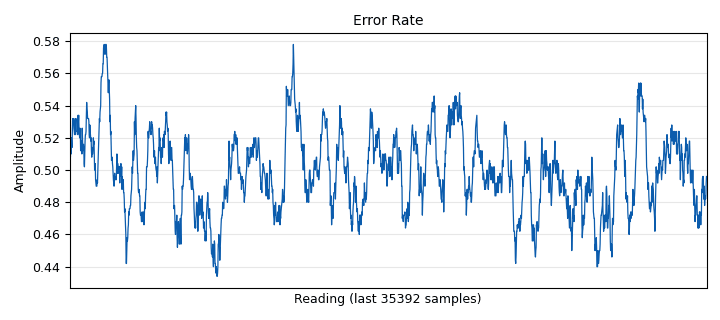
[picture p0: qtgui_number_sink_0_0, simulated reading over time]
<?xml version='1.0' encoding='utf-8'?>
<?grc format='1' created='3.7.13'?>
<flow_graph>
<block>
<key>options</key>
<param><key>id</key><value>BER_Meassurment</value></param>
<param><key>category</key><value>Custom</value></param>
<param><key>generate_options</key><value>qt_gui</value></param>
<param><key>run_options</key><value>run</value></param>
</block>
<block>
<key>variable_qtgui_entry</key>
<param><key>id</key><value>Noise_Level</value></param>
<param><key>value</key><value>12</value></param>
<param><key>label</key><value>Noise Tx OFF in dB</value></param>
<param><key>type</key><value>real</value></param>
</block>
<block>
<key>variable</key>
<param><key>id</key><value>freq</value></param>
<param><key>value</key><value>2400000000</value></param>
</block>
<block>
<key>variable</key>
<param><key>id</key><value>packet_len</value></param>
<param><key>value</key><value>1024</value></param>
</block>
<block>
<key>variable_qtgui_range</key>
<param><key>id</key><value>rxAmp</value></param>
<param><key>value</key><value>6</value></param>
<param><key>label</key><value>Rx Amplifier ON / OFF</value></param>
<param><key>orient</key><value>Qt.Horizontal</value></param>
<param><key>start</key><value>6</value></param>
<param><key>step</key><value>1</value></param>
<param><key>stop</key><value>7</value></param>
<param><key>rangeType</key><value>int</value></param>
<param><key>widget</key><value>dial</value></param>
</block>
<block>
<key>variable_qtgui_range</key>
<param><key>id</key><value>rxgainIF</value></param>
<param><key>value</key><value>20</value></param>
<param><key>label</key><value>Rx Gain</value></param>
<param><key>orient</key><value>Qt.Horizontal</value></param>
<param><key>start</key><value>0</value></param>
<param><key>step</key><value>8</value></param>
<param><key>stop</key><value>40</value></param>
<param><key>rangeType</key><value>int</value></param>
</block>
<block>
<key>variable</key>
<param><key>id</key><value>samp_rate</value></param>
<param><key>value</key><value>9600</value></param>
</block>
<block>
<key>variable_qtgui_range</key>
<param><key>id</key><value>txAmp</value></param>
<param><key>value</key><value>6</value></param>
<param><key>label</key><value>Tx Amplifier ON / OFF</value></param>
<param><key>orient</key><value>Qt.Horizontal</value></param>
<param><key>start</key><value>6</value></param>
<param><key>step</key><value>1</value></param>
<param><key>stop</key><value>7</value></param>
<param><key>rangeType</key><value>int</value></param>
<param><key>widget</key><value>dial</value></param>
</block>
<block>
<key>variable_qtgui_range</key>
<param><key>id</key><value>tx_on_off</value></param>
<param><key>value</key><value>1</value></param>
<param><key>label</key><value>Tx ON / OFF</value></param>
<param><key>orient</key><value>Qt.Horizontal</value></param>
<param><key>start</key><value>0</value></param>
<param><key>step</key><value>1</value></param>
<param><key>stop</key><value>1</value></param>
<param><key>rangeType</key><value>int</value></param>
<param><key>widget</key><value>dial</value></param>
</block>
<block>
<key>variable_qtgui_range</key>
<param><key>id</key><value>txgainIF</value></param>
<param><key>value</key><value>20</value></param>
<param><key>label</key><value>Tx Gain</value></param>
<param><key>orient</key><value>Qt.Horizontal</value></param>
<param><key>start</key><value>0</value></param>
<param><key>step</key><value>1</value></param>
<param><key>stop</key><value>47</value></param>
<param><key>rangeType</key><value>int</value></param>
</block>
<block>
<key>variable_header_format_default</key>
<param><key>id</key><value>variable_header_format_default_0</value></param>
<param><key>access_code</key><value>0</value></param>
<param><key>bps</key><value>1</value></param>
<param><key>threshold</key><value>0</value></param>
</block>
<block>
<key>analog_const_source_x</key>
<param><key>id</key><value>analog_const_source_x_1</value></param>
<param><key>const</key><value>0</value></param>
<param><key>_enabled</key><value>0</value></param>
<param><key>type</key><value>float</value></param>
</block>
<block>
<key>analog_probe_avg_mag_sqrd_x</key>
<param><key>id</key><value>analog_probe_avg_mag_sqrd_x_0</value></param>
<param><key>alpha</key><value>1</value></param>
<param><key>_enabled</key><value>0</value></param>
<param><key>threshold</key><value>0</value></param>
<param><key>type</key><value>cf</value></param>
</block>
<block>
<key>analog_random_source_x</key>
<param><key>id</key><value>analog_random_source_x_0</value></param>
<param><key>max</key><value>256</value></param>
<param><key>min</key><value>0</value></param>
<param><key>num_samps</key><value>10000000</value></param>
<param><key>type</key><value>byte</value></param>
<param><key>repeat</key><value>True</value></param>
</block>
<block>
<key>blks2_error_rate</key>
<param><key>id</key><value>blks2_error_rate_0</value></param>
<param><key>bits_per_symbol</key><value>1</value></param>
<param><key>type</key><value>'BER'</value></param>
<param><key>win_size</key><value>500</value></param>
</block>
<block>
<key>blocks_file_sink</key>
<param><key>id</key><value>blocks_file_sink_0</value></param>
<param><key>_enabled</key><value>0</value></param>
<param><key>file</key><value>/home/osboxes/Desktop/test_rec</value></param>
<param><key>type</key><value>byte</value></param>
</block>
<block>
<key>blocks_file_source</key>
<param><key>id</key><value>blocks_file_source_0</value></param>
<param><key>_enabled</key><value>0</value></param>
<param><key>file</key><value>/home/osboxes/Desktop/test</value></param>
<param><key>type</key><value>byte</value></param>
<param><key>repeat</key><value>True</value></param>
</block>
<block>
<key>blocks_moving_average_xx</key>
<param><key>id</key><value>blocks_moving_average_xx_0_0</value></param>
<param><key>_enabled</key><value>2</value></param>
<param><key>length</key><value>1000</value></param>
<param><key>max_iter</key><value>4000</value></param>
<param><key>scale</key><value>1/1000</value></param>
<param><key>type</key><value>float</value></param>
</block>
<block>
<key>blocks_nlog10_ff</key>
<param><key>id</key><value>blocks_nlog10_ff_0</value></param>
<param><key>_enabled</key><value>0</value></param>
<param><key>k</key><value>0</value></param>
<param><key>n</key><value>20</value></param>
</block>
<block>
<key>blocks_repack_bits_bb</key>
<param><key>id</key><value>blocks_repack_bits_bb_0_0_0</value></param>
<param><key>k</key><value>8</value></param>
<param><key>l</key><value>1</value></param>
<param><key>comment</key><value>Tagged Stream to PDU block up ahead needs packed bytes</value></param>
<param><key>_enabled</key><value>2</value></param>
<param><key>endianness</key><value>gr.GR_MSB_FIRST</value></param>
<param><key>len_tag_key</key><value></value></param>
</block>
<block>
<key>blocks_repack_bits_bb</key>
<param><key>id</key><value>blocks_repack_bits_bb_0_0_0_0</value></param>
<param><key>k</key><value>8</value></param>
<param><key>l</key><value>1</value></param>
<param><key>comment</key><value>Tagged Stream to PDU block up ahead needs packed bytes</value></param>
<param><key>_enabled</key><value>0</value></param>
<param><key>endianness</key><value>gr.GR_MSB_FIRST</value></param>
<param><key>len_tag_key</key><value></value></param>
</block>
<block>
<key>blocks_sample_and_hold_xx</key>
<param><key>id</key><value>blocks_sample_and_hold_xx_0</value></param>
<param><key>_enabled</key><value>0</value></param>
<param><key>type</key><value>float</value></param>
</block>
<block>
<key>blocks_throttle</key>
<param><key>id</key><value>blocks_throttle_0</value></param>
<param><key>samples_per_second</key><value>samp_rate</value></param>
<param><key>type</key><value>byte</value></param>
</block>
<block>
<key>blocks_unpack_k_bits_bb</key>
<param><key>id</key><value>blocks_unpack_k_bits_bb_0</value></param>
<param><key>k</key><value>8</value></param>
</block>
<block>
<key>digital_gmsk_demod</key>
<param><key>id</key><value>digital_gmsk_demod_0</value></param>
<param><key>freq_error</key><value>0.0</value></param>
<param><key>gain_mu</key><value>0.175</value></param>
<param><key>mu</key><value>0.5</value></param>
<param><key>omega_relative_limit</key><value>0.005</value></param>
<param><key>samples_per_symbol</key><value>4</value></param>
</block>
<block>
<key>digital_gmsk_mod</key>
<param><key>id</key><value>digital_gmsk_mod_0</value></param>
<param><key>bt</key><value>0.5</value></param>
<param><key>samples_per_symbol</key><value>4</value></param>
</block>
<block>
<key>fec_ber_bf</key>
<param><key>id</key><value>fec_ber_bf_0</value></param>
<param><key>test_mode</key><value>False</value></param>
</block>
<block>
<key>parameter</key>
<param><key>id</key><value>hdr_format</value></param>
<param><key>label</key><value>Header Formatter</value></param>
<param><key>value</key><value>digital.header_format_default(digital.packet_utils.default_access_code, 0)</value></param>
</block>
<block>
<key>import</key>
<param><key>id</key><value>import_0</value></param>
<param><key>import</key><value>from cmath import exp, pi; from random import randint; import numpy as np;</value></param>
</block>
<block>
<key>mapper_prbs_sink_b</key>
<param><key>id</key><value>mapper_prbs_sink_b_0</value></param>
<param><key>_enabled</key><value>0</value></param>
<param><key>which_mode</key><value>"PRBS31"</value></param>
<param><key>clear_stats</key><value>packet_len</value></param>
<param><key>reset_len</key><value>packet_len</value></param>
</block>
<block>
<key>mapper_prbs_source_b</key>
<param><key>id</key><value>mapper_prbs_source_b_0</value></param>
<param><key>_enabled</key><value>0</value></param>
<param><key>which_mode</key><value>"PRBS31"</value></param>
<param><key>reset_len</key><value>packet_len</value></param>
</block>
<block>
<key>osmosdr_sink</key>
<param><key>id</key><value>osmosdr_sink_0</value></param>
<param><key>bb_gain0</key><value>20</value></param>
<param><key>freq0</key><value>freq</value></param>
<param><key>if_gain0</key><value>20</value></param>
<param><key>gain0</key><value>10</value></param>
<param><key>args</key><value>hackrf=58bb63</value></param>
<param><key>_enabled</key><value>0</value></param>
<param><key>type</key><value>fc32</value></param>
<param><key>sample_rate</key><value>samp_rate</value></param>
<param><key>sync</key><value></value></param>
</block>
<block>
<key>osmosdr_source</key>
<param><key>id</key><value>osmosdr_source_0</value></param>
<param><key>bb_gain0</key><value>20</value></param>
<param><key>dc_offset_mode0</key><value>1</value></param>
<param><key>freq0</key><value>freq</value></param>
<param><key>gain_mode0</key><value>False</value></param>
<param><key>if_gain0</key><value>20</value></param>
<param><key>gain0</key><value>10</value></param>
<param><key>comment</key><value>hackrf=58bb63
hackrf=25ad63</value></param>
<param><key>args</key><value>hackrf=25ad63</value></param>
<param><key>_enabled</key><value>0</value></param>
<param><key>type</key><value>fc32</value></param>
<param><key>sample_rate</key><value>samp_rate</value></param>
<param><key>sync</key><value></value></param>
</block>
<block>
<key>qtgui_number_sink</key>
<param><key>id</key><value>qtgui_number_sink_0</value></param>
<param><key>_enabled</key><value>0</value></param>
<param><key>graph_type</key><value>qtgui.NUM_GRAPH_NONE</value></param>
<param><key>type</key><value>float</value></param>
<param><key>name</key><value>"Signal Power"</value></param>
<param><key>nconnections</key><value>2</value></param>
</block>
<block>
<key>qtgui_number_sink</key>
<param><key>id</key><value>qtgui_number_sink_0_0</value></param>
<param><key>graph_type</key><value>qtgui.NUM_GRAPH_NONE</value></param>
<param><key>type</key><value>float</value></param>
<param><key>name</key><value>"Error Rate"</value></param>
</block>
<block>
<key>simple_packet_decoder</key>
<param><key>id</key><value>simple_packet_decoder_0</value></param>
<param><key>_enabled</key><value>2</value></param>
<param><key>hdr_format</key><value>digital.header_format_default(digital.packet_utils.default_access_code, 0)</value></param>
</block>
<block>
<key>simple_packet_encoder</key>
<param><key>id</key><value>simple_packet_encoder_0</value></param>
<param><key>_enabled</key><value>2</value></param>
<param><key>hdr_format</key><value>hdr_format</value></param>
<param><key>packet_len</key><value>packet_len</value></param>
</block>
<connection><source_block_id>analog_const_source_x_1</source_block_id><sink_block_id>qtgui_number_sink_0</sink_block_id><source_key>0</source_key><sink_key>1</sink_key></connection>
<connection><source_block_id>analog_probe_avg_mag_sqrd_x_0</source_block_id><sink_block_id>blocks_nlog10_ff_0</sink_block_id><source_key>0</source_key><sink_key>0</sink_key></connection>
<connection><source_block_id>analog_random_source_x_0</source_block_id><sink_block_id>blocks_throttle_0</sink_block_id><source_key>0</source_key><sink_key>0</sink_key></connection>
<connection><source_block_id>blks2_error_rate_0</source_block_id><sink_block_id>blocks_moving_average_xx_0_0</sink_block_id><source_key>0</source_key><sink_key>0</sink_key></connection>
<connection><source_block_id>blocks_file_source_0</source_block_id><sink_block_id>simple_packet_encoder_0</sink_block_id><source_key>0</source_key><sink_key>0</sink_key></connection>
<connection><source_block_id>blocks_moving_average_xx_0_0</source_block_id><sink_block_id>qtgui_number_sink_0_0</sink_block_id><source_key>0</source_key><sink_key>0</sink_key></connection>
<connection><source_block_id>blocks_nlog10_ff_0</source_block_id><sink_block_id>blocks_sample_and_hold_xx_0</sink_block_id><source_key>0</source_key><sink_key>0</sink_key></connection>
<connection><source_block_id>blocks_nlog10_ff_0</source_block_id><sink_block_id>qtgui_number_sink_0</sink_block_id><source_key>0</source_key><sink_key>0</sink_key></connection>
<connection><source_block_id>blocks_repack_bits_bb_0_0_0</source_block_id><sink_block_id>blks2_error_rate_0</sink_block_id><source_key>0</source_key><sink_key>0</sink_key></connection>
<connection><source_block_id>blocks_repack_bits_bb_0_0_0_0</source_block_id><sink_block_id>simple_packet_decoder_0</sink_block_id><source_key>0</source_key><sink_key>0</sink_key></connection>
<connection><source_block_id>blocks_sample_and_hold_xx_0</source_block_id><sink_block_id>qtgui_number_sink_0</sink_block_id><source_key>0</source_key><sink_key>1</sink_key></connection>
<connection><source_block_id>blocks_throttle_0</source_block_id><sink_block_id>blocks_unpack_k_bits_bb_0</sink_block_id><source_key>0</source_key><sink_key>0</sink_key></connection>
<connection><source_block_id>blocks_throttle_0</source_block_id><sink_block_id>simple_packet_encoder_0</sink_block_id><source_key>0</source_key><sink_key>0</sink_key></connection>
<connection><source_block_id>blocks_unpack_k_bits_bb_0</source_block_id><sink_block_id>blks2_error_rate_0</sink_block_id><source_key>0</source_key><sink_key>1</sink_key></connection>
<connection><source_block_id>digital_gmsk_demod_0</source_block_id><sink_block_id>simple_packet_decoder_0</sink_block_id><source_key>0</source_key><sink_key>0</sink_key></connection>
<connection><source_block_id>digital_gmsk_mod_0</source_block_id><sink_block_id>digital_gmsk_demod_0</sink_block_id><source_key>0</source_key><sink_key>0</sink_key></connection>
<connection><source_block_id>digital_gmsk_mod_0</source_block_id><sink_block_id>osmosdr_sink_0</sink_block_id><source_key>0</source_key><sink_key>0</sink_key></connection>
<connection><source_block_id>mapper_prbs_sink_b_0</source_block_id><sink_block_id>blocks_moving_average_xx_0_0</sink_block_id><source_key>0</source_key><sink_key>0</sink_key></connection>
<connection><source_block_id>mapper_prbs_source_b_0</source_block_id><sink_block_id>simple_packet_encoder_0</sink_block_id><source_key>0</source_key><sink_key>0</sink_key></connection>
<connection><source_block_id>osmosdr_source_0</source_block_id><sink_block_id>digital_gmsk_demod_0</sink_block_id><source_key>0</source_key><sink_key>0</sink_key></connection>
<connection><source_block_id>simple_packet_decoder_0</source_block_id><sink_block_id>blocks_repack_bits_bb_0_0_0</sink_block_id><source_key>0</source_key><sink_key>0</sink_key></connection>
<connection><source_block_id>simple_packet_encoder_0</source_block_id><sink_block_id>blocks_repack_bits_bb_0_0_0_0</sink_block_id><source_key>0</source_key><sink_key>0</sink_key></connection>
<connection><source_block_id>simple_packet_encoder_0</source_block_id><sink_block_id>digital_gmsk_mod_0</sink_block_id><source_key>0</source_key><sink_key>0</sink_key></connection>
</flow_graph>
